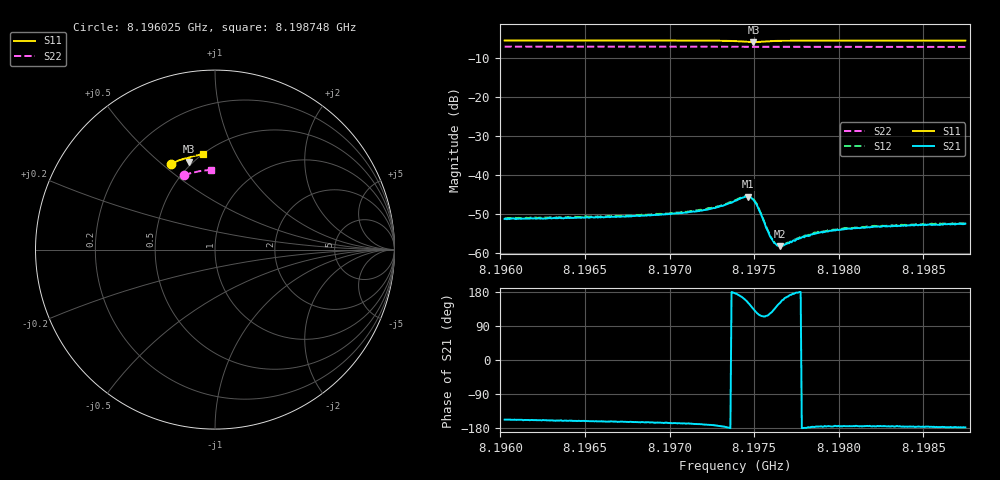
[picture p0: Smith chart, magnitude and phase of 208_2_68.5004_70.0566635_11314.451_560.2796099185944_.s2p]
#  HZ  S  RI  R  50.00
! Rohde & Schwarz Vector Network Analyzer
! Rohde-Schwarz,ZNB20-2Port,1311601062101988,3.16
! Created: UTC 3/20/2024, 5:13:02 PM
! freq[Hz]  re:S11  im:S11  re:S21  im:S21  re:S12  im:S12  re:S22  im:S22
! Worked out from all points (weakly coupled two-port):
!   401 points, 8.196025 GHz to 8.198748 GHz, reference 50 ohm
!   highest |S21| = -45.49 dB at 8.197461 GHz (marker M1); lowest = -58.2 dB at 8.197652 GHz (marker M2)
!   lowest |S11| = -5.8 dB at 8.197495 GHz (marker M3), VSWR 3.09, Z = 23.8 + j31.6 ohm
!   |S11| at or under -10 dB: nowhere
!   |S22| runs from -7.1 to -7.0 dB; largest |S21 - S12| = 0.00025
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8.1960249e9  -0.2462 0.4773  -0.00253 -0.00105  -0.00262 -0.00096  -0.1709 0.4141
8.196481e9  -0.2163 0.4909  -0.00268 -0.000939  -0.00278 -0.000842  -0.1467 0.4226
8.1969372e9  -0.1849 0.5028  -0.00298 -0.000794  -0.00311 -0.000676  -0.122 0.4294
8.1972027e9  -0.1641 0.5084  -0.00352 -0.000607  -0.0036 -0.000481  -0.1074 0.433
8.1973048e9  -0.1544 0.5094  -0.004 -0.000379  -0.00408 -0.000209  -0.1016 0.434
8.1973865e9  -0.1446 0.5071  -0.00467 0.000328  -0.00473 0.000527  -0.097 0.4348
8.1974341e9  -0.1392 0.5012  -0.00497 0.00143  -0.00502 0.00164  -0.0944 0.4352
8.1974614e9  -0.1388 0.4955  -0.00471 0.00246  -0.0047 0.00267  -0.0929 0.4353
8.1974818e9  -0.1413 0.4913  -0.00403 0.00317  -0.00398 0.0034  -0.0919 0.4354
8.1974954e9  -0.1445 0.4898  -0.00336 0.00344  -0.0033 0.00364  -0.0912 0.4354
8.1975226e9  -0.1511 0.491  -0.00201 0.00326  -0.00192 0.00344  -0.09 0.4359
8.1975839e9  -0.1543 0.5023  -0.000887 0.00162  -0.000837 0.00168  -0.0867 0.4366
8.1976043e9  -0.153 0.5053  -0.000901 0.00121  -0.00085 0.00126  -0.0854 0.4369
8.1976316e9  -0.1506 0.5084  -0.000993 0.0008  -0.000993 0.000848  -0.0839 0.4372
8.197652e9  -0.1487 0.51  -0.00106 0.000604  -0.00109 0.000633  -0.0829 0.4375
8.1977064e9  -0.1436 0.5133  -0.00131 0.000237  -0.00132 0.00029  -0.0798 0.438
8.1977881e9  -0.1364 0.5164  -0.00163 -1.1e-05  -0.00164 7.32e-05  -0.075 0.4387
8.1978426e9  -0.1319 0.518  -0.00173 -0.000109  -0.00173 -2.05e-05  -0.0721 0.4392
8.1979583e9  -0.1229 0.5205  -0.00193 -0.00015  -0.00194 -0.000102  -0.0655 0.4398
8.1980332e9  -0.1172 0.5219  -0.00201 -0.000197  -0.00208 -0.00012  -0.0613 0.4405
8.1982987e9  -0.0978 0.5259  -0.0022 -0.00018  -0.00224 -8.4e-05  -0.0462 0.4418
8.198748e9  -0.0655 0.5304  -0.00238 -9.56e-05  -0.00239 1.2e-05  -0.0208 0.4428
